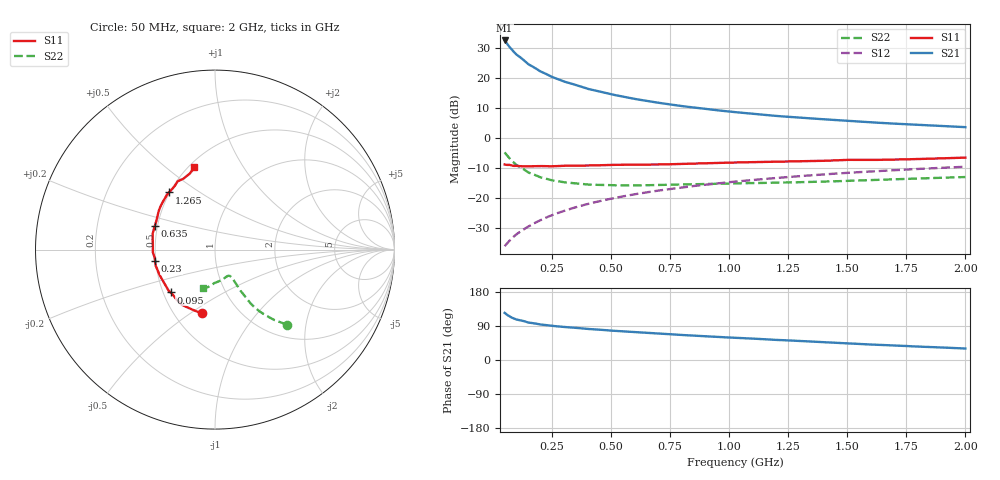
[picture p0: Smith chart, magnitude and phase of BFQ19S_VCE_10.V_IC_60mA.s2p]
! Infineon Technologies  Discrete & RF Semiconductors
! BFQ19S
! VCE =  10. V,  IC =  60 mA
! Common Emitter S-Parameters:  Jan 2016
# GHz  S  MA  R  50
!  f  S11  S21  S12  S22
! GHz  MAG  ANG  MAG  ANG  MAG  ANG  MAG  ANG
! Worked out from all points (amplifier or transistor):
!   391 points, 50 MHz to 2 GHz, reference 50 ohm
!   highest |S21| = 32.5 dB at 50 MHz (marker M1)
!   |S21| within 3 dB of that: start of sweep to 79.86 MHz
!   unconditionally stable (mu >= 1): 262.7 MHz to 1.493 GHz; 1.523 GHz to 1.672 GHz
!   at 375 MHz: K = 1.02, MAG = 18.9 dB, |S12| = -22.5 dB
!   at 1.025 GHz: K = 1.03, MAG = 10.5 dB, |S12| = -14.5 dB
!   at 2 GHz: K = 0.97, MSG = 6.6 dB, |S12| = -9.5 dB
!   S11 on the Smith chart (normalised r, x): 50 MHz: 0.68, -0.55; 95 MHz: 0.55, -0.30; 230 MHz: 0.50, -0.07; 635 MHz: 0.48, +0.15; 1.265 GHz: 0.50, +0.38; 2 GHz: 0.53, +0.63
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0.05  0.3634 -101.9  42.01 124.4  0.0159 65.0  0.5774 -46.3
0.06  0.3571 -112.0  37.12 119.4  0.0176 65.8  0.5147 -49.8
0.07  0.3587 -121.0  33.05 115.3  0.0195 65.7  0.4636 -52.3
0.08  0.3512 -127.7  29.69 111.9  0.0212 66.2  0.4217 -54.3
0.09  0.3436 -133.4  26.89 109.2  0.0232 66.7  0.3865 -55.7
0.095  0.344 -136.0  25.68 108.1  0.0241 67.2  0.3716 -56.1
0.1  0.3451 -138.6  24.49 106.8  0.025 67.6  0.3568 -56.6
0.15  0.3394 -154.7  16.95 98.9  0.0336 70.6  0.2683 -58.2
0.2  0.3425 -164.8  12.93 93.8  0.0427 72.2  0.2236 -58.4
0.23  0.3397 -169.2  11.41 91.8  0.0483 72.7  0.2085 -58.6
0.25  0.339 -172.1  10.41 90.1  0.0521 73.0  0.1985 -58.7
0.3  0.3465 -177.5  8.74 87.1  0.0611 73.2  0.1839 -58.8
0.375  0.3474 175.8  7.136 83.6  0.075 72.9  0.1721 -60.0
0.4  0.3488 173.6  6.61 82.0  0.0797 72.8  0.1682 -60.4
0.5  0.3585 165.6  5.339 77.6  0.098 72.1  0.1637 -62.8
0.635  0.3605 158.2  4.257 72.4  0.1221 70.2  0.1636 -67.2
0.7  0.3622 155.0  3.863 69.8  0.1335 69.5  0.1656 -69.5
1.03  0.3919 138.9  2.69 58.5  0.1893 64.2  0.1763 -81.1
1.265  0.4087 128.8  2.236 51.2  0.2269 60.4  0.183 -88.1
1.35  0.4139 125.1  2.118 48.6  0.2404 59.0  0.1859 -90.5
1.675  0.4367 112.1  1.758 38.9  0.2885 53.6  0.2054 -98.0
2  0.4725 104.0  1.518 30.3  0.3333 48.6  0.2245 -106.7
